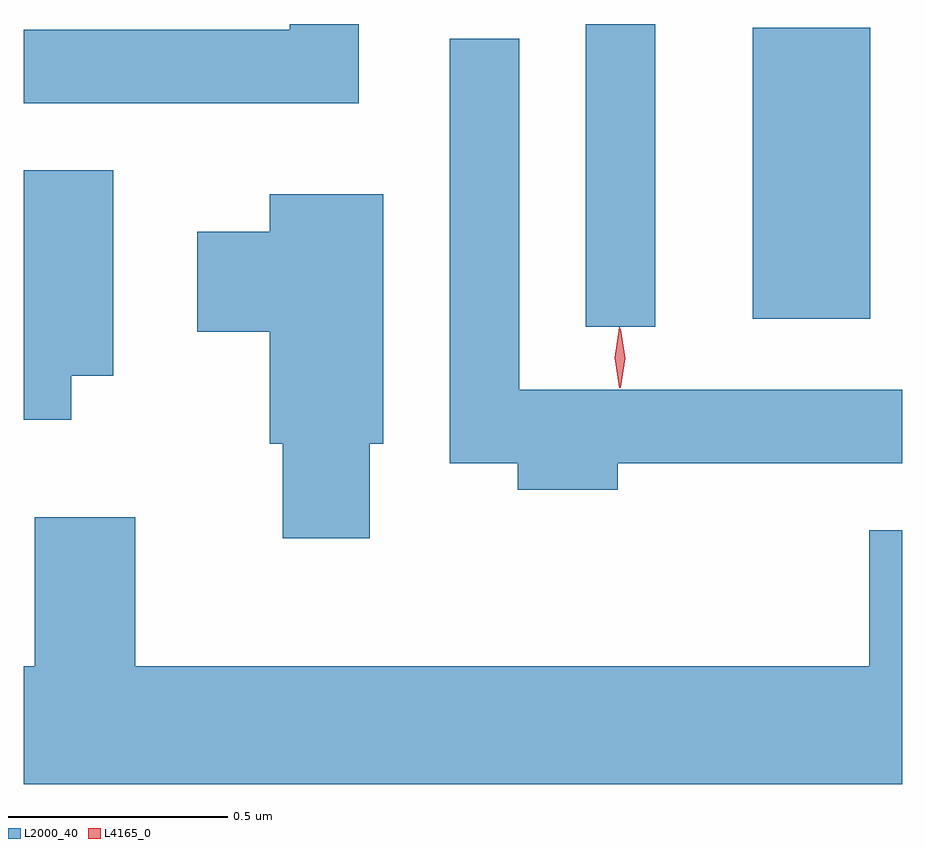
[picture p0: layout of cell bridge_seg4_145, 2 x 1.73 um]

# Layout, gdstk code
import gdstk
lib = gdstk.Library(unit=1e-6, precision=1e-09)
def R(c, l, rs):  # rectangles x0, y0, x1, y1
    for r in rs: c.add(gdstk.rectangle(r[:2], r[2:], *l))
def P(c, l, *ps):  # polygons
    for p in ps: c.add(gdstk.Polygon(p, *l))
L2000_40 = (2000, 40)
L4165_0 = (4165, 0)

bridge_seg4_145 = lib.new_cell('bridge_seg4_145')
R(bridge_seg4_145, L2000_40, [(877.916,1313.538,878.074,1314.227), (878.296,1313.556,878.564,1314.219)])
P(bridge_seg4_145, L2000_40, [(877.399,1314.227),(877.241,1314.227),(877.241,1314.214),(876.636,1314.214),(876.636,1314.046),(877.399,1314.046)],
  [(877.989,1313.226),(878.636,1313.226),(878.636,1313.394),(877.764,1313.394),(877.764,1314.193),(877.606,1314.193),(877.606,1313.226),(877.761,1313.226),(877.761,1313.166),(877.989,1313.166)],
  [(876.744,1313.426),(876.839,1313.426),(876.839,1313.894),(876.636,1313.894),(876.636,1313.326),(876.744,1313.326)],
  [(877.424,1313.271),(877.454,1313.271),(877.454,1313.839),(877.196,1313.839),(877.196,1313.754),(877.031,1313.754),(877.031,1313.526),(877.196,1313.526),(877.196,1313.271),(877.226,1313.271),(877.226,1313.056),(877.424,1313.056)],
  [(878.636,1313.074),(878.561,1313.074),(878.561,1312.764),(876.889,1312.764),(876.889,1313.104),(876.661,1313.104),(876.661,1312.764),(876.636,1312.764),(876.636,1312.496),(878.636,1312.496)])
P(bridge_seg4_145, L4165_0, [(877.995,1313.399),(877.994,1313.4),(877.985,1313.466),(877.994,1313.532),(877.995,1313.533),(877.995,1313.532),(878.005,1313.466),(877.995,1313.4)],
  [(877.992,1313.397),(877.992,1313.398),(877.982,1313.467),(877.992,1313.536),(877.992,1313.536),(877.993,1313.536),(878.002,1313.467),(877.993,1313.398)])

lib.write_gds('bridge_seg4_145.gds')
